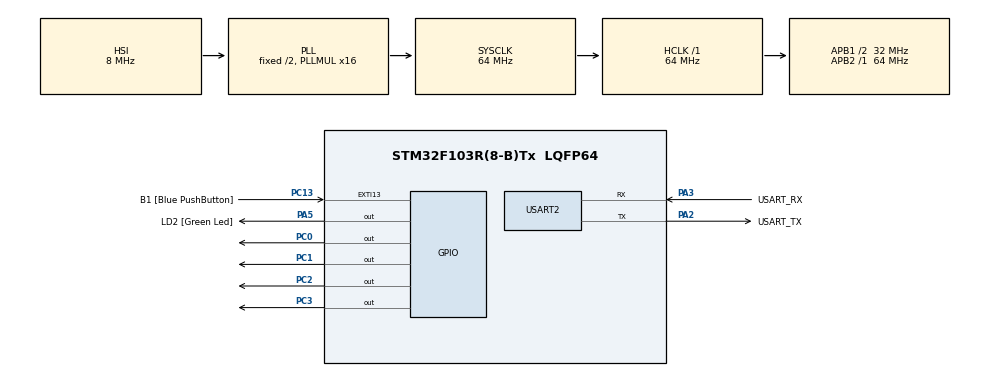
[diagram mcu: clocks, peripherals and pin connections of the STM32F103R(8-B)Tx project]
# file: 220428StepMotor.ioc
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Mcu.Family=STM32F1
Mcu.Name=STM32F103R(8-B)Tx
Mcu.Package=LQFP64
NVIC.EXTI15_10_IRQn=true\:0\:0\:false\:false\:true\:true\:true\:true
NVIC.PriorityGroup=NVIC_PRIORITYGROUP_4
PA13.GPIO_Label=TMS
PA13.Mode=Serial_Wire
PA13.Signal=SYS_JTMS-SWDIO
PA14.GPIO_Label=TCK
PA14.Mode=Serial_Wire
PA14.Signal=SYS_JTCK-SWCLK
PA2.GPIO_Label=USART_TX
PA2.GPIO_Mode=GPIO_MODE_AF_PP
PA2.GPIO_PuPd=GPIO_NOPULL
PA2.GPIO_Speed=GPIO_SPEED_FREQ_LOW
PA2.Mode=Asynchronous
PA2.Signal=USART2_TX
PA3.GPIO_Label=USART_RX
PA3.GPIO_Mode=GPIO_MODE_AF_PP
PA3.GPIO_PuPd=GPIO_NOPULL
PA3.GPIO_Speed=GPIO_SPEED_FREQ_LOW
PA3.Mode=Asynchronous
PA3.Signal=USART2_RX
PA5.GPIO_Label=LD2 [Green Led]
PA5.GPIO_ModeDefaultOutputPP=GPIO_MODE_OUTPUT_PP
PA5.GPIO_PuPd=GPIO_NOPULL
PA5.GPIO_Speed=GPIO_SPEED_FREQ_LOW
PA5.Signal=GPIO_Output
PB3.GPIO_Label=SWO
PB3.Signal=SYS_JTDO-TRACESWO
PC0.Signal=GPIO_Output
PC1.Signal=GPIO_Output
PC13-TAMPER-RTC.GPIO_Label=B1 [Blue PushButton]
PC13-TAMPER-RTC.GPIO_PuPd=GPIO_NOPULL
PC13-TAMPER-RTC.Signal=GPXTI13
PC14-OSC32_IN.Mode=LSE-External-Oscillator
PC14-OSC32_IN.Signal=RCC_OSC32_IN
PC15-OSC32_OUT.Mode=LSE-External-Oscillator
PC15-OSC32_OUT.Signal=RCC_OSC32_OUT
PC2.Signal=GPIO_Output
PC3.Signal=GPIO_Output
PD0-OSC_IN.Mode=HSE-External-Clock-Source
PD0-OSC_IN.Signal=RCC_OSC_IN
PD1-OSC_OUT.Mode=HSE-External-Clock-Source
PD1-OSC_OUT.Signal=RCC_OSC_OUT
ProjectManager.HeapSize=0x200
ProjectManager.StackSize=0x400
ProjectManager.TargetToolchain=STM32CubeIDE
RCC.AHBFreq_Value=64000000
RCC.APB1CLKDivider=RCC_HCLK_DIV2
RCC.APB1Freq_Value=32000000
RCC.APB1TimFreq_Value=64000000
RCC.APB2Freq_Value=64000000
RCC.APB2TimFreq_Value=64000000
RCC.HCLKFreq_Value=64000000
RCC.PLLMUL=RCC_PLL_MUL16
RCC.RTCClockSelection=RCC_RTCCLKSOURCE_LSE
RCC.SYSCLKFreq_VALUE=64000000
RCC.SYSCLKSource=RCC_SYSCLKSOURCE_PLLCLK
RCC.USBFreq_Value=64000000
TIM2.Period=1000-1
TIM2.Prescaler=1280-1
USART2.VirtualMode=VM_ASYNC
VP_TIM2_VS_ClockSourceINT.Mode=Internal
board=NUCLEO-F103RB

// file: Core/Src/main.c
/* USER CODE BEGIN Header */
/**
  ******************************************************************************
  * @file           : main.c
  * @brief          : Main program body
  ******************************************************************************
  * @attention
  *
  * Copyright (c) 2022 STMicroelectronics.
  * All rights reserved.
  *
  * This software is licensed under terms that can be found in the LICENSE file
  * in the root directory of this software component.
  * If no LICENSE file comes with this software, it is provided AS-IS.
  *
  ******************************************************************************
  */
/* USER CODE END Header */
#include "main.h"

/* USER CODE BEGIN Includes */
#include "stdio.h"
/* USER CODE END Includes */

/* USER CODE BEGIN PM */
uint8_t step_data1[] = {0x01, 0x02, 0x04, 0x08};
uint8_t step_data2[] = {0x03, 0x06, 0x0c, 0x09};
uint8_t step_data3[] = {0x01, 0x03, 0x02, 0x06, 0x04, 0x0c, 0x08, 0x09};
/* USER CODE END PM */

 TIM_HandleTypeDef htim2;

UART_HandleTypeDef huart2;

/* USER CODE BEGIN PV */
void us_delay(uint16_t delay)
{
	__HAL_TIM_SET_COUNTER(&htim2, 0);
	while((__HAL_TIM_GET_COUNTER(&htim2)) < delay);
}

/* USER CODE END PV */

void SystemClock_Config(void);
static void MX_GPIO_Init(void);
static void MX_USART2_UART_Init(void);
static void MX_TIM2_Init(void);

/* USER CODE BEGIN 0 */
void stepmotor (float angle, int dir)
{
	float angperseq = 360.0 / 512;
	int numofseq = (int) (angle/angperseq);

	for(int i = 0; i < numofseq; i++)
	{
		if(dir == 0)
		{
			for(int j = 0; j < 4; j++)
			{
				GPIOC -> ODR = step_data1[j];
				HAL_Delay(1);
			}
		}
		else if(dir == 1)
		{
			for(int j = 4; j >= 0; j--)
			{
				GPIOC -> ODR = step_data2[j];
				HAL_Delay(1);
			}
		}

		else if(dir == 1)
		{
			for(int j = 4; i >= 0; j--)
			{
				GPIOC -> ODR = step_data3[j];
				HAL_Delay(1);
			}
		}

		else if(dir == 0)
		{
			for(int j = 0; j < 4; j++)
			{
				GPIOC -> ODR = step_data3[j];
				HAL_Delay(1);
			}
		}
	}
}
/* USER CODE END 0 */

int main(void)
{

  /* MCU Configuration--------------------------------------------------------*/

  /* Reset of all peripherals, Initializes the Flash interface and the Systick. */
  HAL_Init();

  /* Configure the system clock */
  SystemClock_Config();

  /* Initialize all configured peripherals */
  MX_GPIO_Init();
  MX_USART2_UART_Init();
  MX_TIM2_Init();
  /* USER CODE BEGIN 2 */
  HAL_TIM_Base_Start(&htim2);
  /* USER CODE END 2 */

  /* Infinite loop */
  /* USER CODE BEGIN WHILE */
  while (1)
  {
	 for(int i = 0; i < 4; i++)
	 {
		 stepmotor(360, 1);
		 HAL_Delay(2000);
	 }
	 for(int i = 0; i < 4; i++)
	 {
		 stepmotor(360 , 0);
		 HAL_Delay(2000);
  }
    /* USER CODE END WHILE */

  }
}

void SystemClock_Config(void)
{
  RCC_OscInitTypeDef RCC_OscInitStruct = {0};
  RCC_ClkInitTypeDef RCC_ClkInitStruct = {0};

  /** Initializes the RCC Oscillators according to the specified parameters
  * in the RCC_OscInitTypeDef structure.
  */
  RCC_OscInitStruct.OscillatorType = RCC_OSCILLATORTYPE_HSI;
  RCC_OscInitStruct.HSIState = RCC_HSI_ON;
  RCC_OscInitStruct.HSICalibrationValue = RCC_HSICALIBRATION_DEFAULT;
  RCC_OscInitStruct.PLL.PLLState = RCC_PLL_ON;
  RCC_OscInitStruct.PLL.PLLSource = RCC_PLLSOURCE_HSI_DIV2;
  RCC_OscInitStruct.PLL.PLLMUL = RCC_PLL_MUL16;
  if (HAL_RCC_OscConfig(&RCC_OscInitStruct) != HAL_OK)
  {
    Error_Handler();
  }

  /** Initializes the CPU, AHB and APB buses clocks
  */
  RCC_ClkInitStruct.ClockType = RCC_CLOCKTYPE_HCLK|RCC_CLOCKTYPE_SYSCLK
                              |RCC_CLOCKTYPE_PCLK1|RCC_CLOCKTYPE_PCLK2;
  RCC_ClkInitStruct.SYSCLKSource = RCC_SYSCLKSOURCE_PLLCLK;
  RCC_ClkInitStruct.AHBCLKDivider = RCC_SYSCLK_DIV1;
  RCC_ClkInitStruct.APB1CLKDivider = RCC_HCLK_DIV2;
  RCC_ClkInitStruct.APB2CLKDivider = RCC_HCLK_DIV1;

  if (HAL_RCC_ClockConfig(&RCC_ClkInitStruct, FLASH_LATENCY_2) != HAL_OK)
  {
    Error_Handler();
  }
}

static void MX_TIM2_Init(void)
{

  TIM_ClockConfigTypeDef sClockSourceConfig = {0};
  TIM_MasterConfigTypeDef sMasterConfig = {0};

  htim2.Instance = TIM2;
  htim2.Init.Prescaler = 1280-1;
  htim2.Init.CounterMode = TIM_COUNTERMODE_UP;
  htim2.Init.Period = 1000-1;
  htim2.Init.ClockDivision = TIM_CLOCKDIVISION_DIV1;
  htim2.Init.AutoReloadPreload = TIM_AUTORELOAD_PRELOAD_DISABLE;
  if (HAL_TIM_Base_Init(&htim2) != HAL_OK)
  {
    Error_Handler();
  }
  sClockSourceConfig.ClockSource = TIM_CLOCKSOURCE_INTERNAL;
  if (HAL_TIM_ConfigClockSource(&htim2, &sClockSourceConfig) != HAL_OK)
  {
    Error_Handler();
  }
  sMasterConfig.MasterOutputTrigger = TIM_TRGO_RESET;
  sMasterConfig.MasterSlaveMode = TIM_MASTERSLAVEMODE_DISABLE;
  if (HAL_TIMEx_MasterConfigSynchronization(&htim2, &sMasterConfig) != HAL_OK)
  {
    Error_Handler();
  }

}

static void MX_USART2_UART_Init(void)
{

  huart2.Instance = USART2;
  huart2.Init.BaudRate = 115200;
  huart2.Init.WordLength = UART_WORDLENGTH_8B;
  huart2.Init.StopBits = UART_STOPBITS_1;
  huart2.Init.Parity = UART_PARITY_NONE;
  huart2.Init.Mode = UART_MODE_TX_RX;
  huart2.Init.HwFlowCtl = UART_HWCONTROL_NONE;
  huart2.Init.OverSampling = UART_OVERSAMPLING_16;
  if (HAL_UART_Init(&huart2) != HAL_OK)
  {
    Error_Handler();
  }

}

static void MX_GPIO_Init(void)
{
  GPIO_InitTypeDef GPIO_InitStruct = {0};

  /* GPIO Ports Clock Enable */
  __HAL_RCC_GPIOC_CLK_ENABLE();
  __HAL_RCC_GPIOD_CLK_ENABLE();
  __HAL_RCC_GPIOA_CLK_ENABLE();
  __HAL_RCC_GPIOB_CLK_ENABLE();

  /*Configure GPIO pin Output Level */
  HAL_GPIO_WritePin(GPIOC, GPIO_PIN_0|GPIO_PIN_1|GPIO_PIN_2|GPIO_PIN_3, GPIO_PIN_RESET);

  /*Configure GPIO pin Output Level */
  HAL_GPIO_WritePin(LD2_GPIO_Port, LD2_Pin, GPIO_PIN_RESET);

  /*Configure GPIO pin : B1_Pin */
  GPIO_InitStruct.Pin = B1_Pin;
  GPIO_InitStruct.Mode = GPIO_MODE_IT_RISING;
  GPIO_InitStruct.Pull = GPIO_NOPULL;
  HAL_GPIO_Init(B1_GPIO_Port, &GPIO_InitStruct);

  /*Configure GPIO pins : PC0 PC1 PC2 PC3 */
  GPIO_InitStruct.Pin = GPIO_PIN_0|GPIO_PIN_1|GPIO_PIN_2|GPIO_PIN_3;
  GPIO_InitStruct.Mode = GPIO_MODE_OUTPUT_PP;
  GPIO_InitStruct.Pull = GPIO_NOPULL;
  GPIO_InitStruct.Speed = GPIO_SPEED_FREQ_LOW;
  HAL_GPIO_Init(GPIOC, &GPIO_InitStruct);

  /*Configure GPIO pin : LD2_Pin */
  GPIO_InitStruct.Pin = LD2_Pin;
  GPIO_InitStruct.Mode = GPIO_MODE_OUTPUT_PP;
  GPIO_InitStruct.Pull = GPIO_NOPULL;
  GPIO_InitStruct.Speed = GPIO_SPEED_FREQ_LOW;
  HAL_GPIO_Init(LD2_GPIO_Port, &GPIO_InitStruct);

  /* EXTI interrupt init*/
  HAL_NVIC_SetPriority(EXTI15_10_IRQn, 0, 0);
  HAL_NVIC_EnableIRQ(EXTI15_10_IRQn);

}

/* USER CODE BEGIN 4 */
#ifdef __GNUC__
/* With GCC, small printf (option LD Linker->Libraries->Small printf
   set to 'Yes') calls __io_putchar() */
#define PUTCHAR_PROTOTYPE int __io_putchar(int ch)
#else
#define PUTCHAR_PROTOTYPE int fputc(int ch, FILE *f)
#endif /* __GNUC__ */
void SystemClock_Config(void);

PUTCHAR_PROTOTYPE
{
  /* Place your implementation of fputc here */
  /* e.g. write a character to the USART1 and Loop until the end of transmission */
  HAL_UART_Transmit(&huart2, (uint8_t *)&ch, 1, 0xFFFF);

  return ch;
}

/* USER CODE END 4 */

void Error_Handler(void)
{
  __disable_irq();
  while (1)
  {
  }
}
